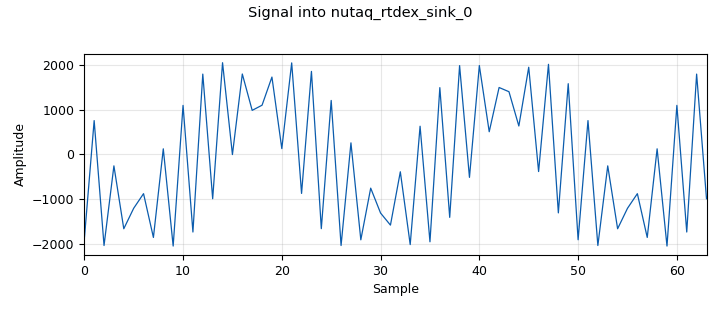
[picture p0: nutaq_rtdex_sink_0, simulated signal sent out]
<?xml version='1.0' encoding='utf-8'?>
<flow_graph>
<block>
<key>options</key>
<param><key>id</key><value>Test_channel_Number2</value></param>
<param><key>generate_options</key><value>wx_gui</value></param>
<param><key>category</key><value>Custom</value></param>
<param><key>realtime_scheduling</key><value>1</value></param>
</block>
<block>
<key>variable</key>
<param><key>id</key><value>packet_size</value></param>
<param><key>value</key><value>packet_size_gige</value></param>
</block>
<block>
<key>variable</key>
<param><key>id</key><value>RF_freq</value></param>
<param><key>value</key><value>3e9</value></param>
</block>
<block>
<key>variable</key>
<param><key>id</key><value>packet_size_gige</value></param>
<param><key>value</key><value>8192</value></param>
</block>
<block>
<key>variable</key>
<param><key>id</key><value>samp_rate</value></param>
<param><key>value</key><value>10e6</value></param>
</block>
<block>
<key>nutaq_custom_register</key>
<param><key>id</key><value>nutaq_custom_register_0_1_1</value></param>
<param><key>target_id</key><value>nutaq_carrier_perseus_TX</value></param>
<param><key>block_priority</key><value>9</value></param>
<param><key>index</key><value>6</value></param>
<param><key>value</key><value>820</value></param>
<param><key>update_rate</key><value>1</value></param>
</block>
<block>
<key>nutaq_radio420_rx</key>
<param><key>id</key><value>nutaq_radio420_rx_0_0</value></param>
<param><key>target_id</key><value>nutaq_carrier_perseus_TX</value></param>
<param><key>block_priority</key><value>3</value></param>
<param><key>selected_card</key><value>2</value></param>
<param><key>enable</key><value>1</value></param>
<param><key>reference</key><value>0</value></param>
<param><key>rx_freq</key><value>RF_freq</value></param>
<param><key>datarate</key><value>samp_rate*2</value></param>
<param><key>calibrate</key><value>0</value></param>
<param><key>band</key><value>1</value></param>
<param><key>update_rate</key><value>1</value></param>
<param><key>rx_lna_gain</key><value>2</value></param>
<param><key>rx_vga1_gain</key><value>2</value></param>
<param><key>rx_gain2</key><value>0</value></param>
<param><key>rx_gain3</key><value>-8</value></param>
<param><key>rx_lpf_bandwidth</key><value>1</value></param>
<param><key>rx_rf_filter</key><value>2</value></param>
<param><key>ref_clk_ctrl</key><value>0</value></param>
<param><key>rf_ctrl</key><value>0</value></param>
<param><key>rx_gain_ctrl</key><value>0</value></param>
<param><key>pll_cpld_ctrl</key><value>0</value></param>
</block>
<block>
<key>nutaq_custom_register</key>
<param><key>id</key><value>nutaq_custom_register_0_0_0</value></param>
<param><key>target_id</key><value>nutaq_carrier_perseus_TX</value></param>
<param><key>block_priority</key><value>8</value></param>
<param><key>index</key><value>3</value></param>
<param><key>value</key><value>7</value></param>
<param><key>update_rate</key><value>1</value></param>
</block>
<block>
<key>nutaq_custom_register</key>
<param><key>id</key><value>nutaq_custom_register_0_1_0</value></param>
<param><key>target_id</key><value>nutaq_carrier_perseus_TX</value></param>
<param><key>block_priority</key><value>7</value></param>
<param><key>index</key><value>2</value></param>
<param><key>value</key><value>00000</value></param>
<param><key>update_rate</key><value>1</value></param>
</block>
<block>
<key>nutaq_custom_register</key>
<param><key>id</key><value>nutaq_custom_register_0_1</value></param>
<param><key>target_id</key><value>nutaq_carrier_perseus_TX</value></param>
<param><key>block_priority</key><value>6</value></param>
<param><key>index</key><value>0</value></param>
<param><key>value</key><value>000000</value></param>
<param><key>update_rate</key><value>1</value></param>
</block>
<block>
<key>nutaq_radio420_tx</key>
<param><key>id</key><value>nutaq_radio420_tx_0_0</value></param>
<param><key>target_id</key><value>nutaq_carrier_perseus_TX</value></param>
<param><key>block_priority</key><value>1</value></param>
<param><key>selected_card</key><value>2</value></param>
<param><key>enable</key><value>1</value></param>
<param><key>reference</key><value>0</value></param>
<param><key>tx_freq</key><value>RF_freq</value></param>
<param><key>datarate</key><value>samp_rate*2</value></param>
<param><key>calibrate</key><value>0</value></param>
<param><key>band</key><value>1</value></param>
<param><key>update_rate</key><value>1</value></param>
<param><key>tx_vga1_gain</key><value>-10</value></param>
<param><key>tx_vga2_gain</key><value>15</value></param>
<param><key>tx_gain3</key><value>3</value></param>
<param><key>tx_lpf_bandwidth</key><value>1</value></param>
<param><key>ref_clk_ctrl</key><value>0</value></param>
<param><key>rf_ctrl</key><value>0</value></param>
<param><key>tx_gain_ctrl</key><value>0</value></param>
<param><key>pll_cpld_ctrl</key><value>0</value></param>
</block>
<block>
<key>nutaq_custom_register</key>
<param><key>id</key><value>nutaq_custom_register_0</value></param>
<param><key>target_id</key><value>nutaq_carrier_perseus_TX</value></param>
<param><key>block_priority</key><value>4</value></param>
<param><key>index</key><value>1</value></param>
<param><key>value</key><value>3</value></param>
<param><key>update_rate</key><value>1</value></param>
</block>
<block>
<key>nutaq_custom_register</key>
<param><key>id</key><value>nutaq_custom_register_0_0</value></param>
<param><key>target_id</key><value>nutaq_carrier_perseus_TX</value></param>
<param><key>block_priority</key><value>5</value></param>
<param><key>index</key><value>4</value></param>
<param><key>value</key><value>0</value></param>
<param><key>update_rate</key><value>1</value></param>
</block>
<block>
<key>nutaq_radio420_tx</key>
<param><key>id</key><value>nutaq_radio420_tx_0</value></param>
<param><key>target_id</key><value>nutaq_carrier_perseus_TX</value></param>
<param><key>block_priority</key><value>0</value></param>
<param><key>selected_card</key><value>1</value></param>
<param><key>enable</key><value>1</value></param>
<param><key>reference</key><value>0</value></param>
<param><key>tx_freq</key><value>RF_freq</value></param>
<param><key>datarate</key><value>samp_rate*2</value></param>
<param><key>calibrate</key><value>0</value></param>
<param><key>band</key><value>1</value></param>
<param><key>update_rate</key><value>1</value></param>
<param><key>tx_vga1_gain</key><value>-10</value></param>
<param><key>tx_vga2_gain</key><value>15</value></param>
<param><key>tx_gain3</key><value>3</value></param>
<param><key>tx_lpf_bandwidth</key><value>1</value></param>
<param><key>ref_clk_ctrl</key><value>0</value></param>
<param><key>rf_ctrl</key><value>0</value></param>
<param><key>tx_gain_ctrl</key><value>1</value></param>
<param><key>pll_cpld_ctrl</key><value>0</value></param>
</block>
<block>
<key>nutaq_rtdex_sink</key>
<param><key>id</key><value>nutaq_rtdex_sink_0</value></param>
<param><key>target_id</key><value>nutaq_carrier_perseus_TX</value></param>
<param><key>block_priority</key><value>7</value></param>
<param><key>type</key><value>short</value></param>
<param><key>media_type</key><value>0</value></param>
<param><key>packet_size</key><value>1024</value></param>
<param><key>num_chan</key><value>1</value></param>
<param><key>channels</key><value>1</value></param>
</block>
<block>
<key>blocks_interleave</key>
<param><key>id</key><value>blocks_interleave_0</value></param>
<param><key>type</key><value>short</value></param>
</block>
<block>
<key>blocks_float_to_short</key>
<param><key>id</key><value>blocks_float_to_short_0_0_0</value></param>
<param><key>scale</key><value>2**11-1</value></param>
</block>
<block>
<key>blocks_float_to_int</key>
<param><key>id</key><value>blocks_float_to_int_0</value></param>
<param><key>scale</key><value>1</value></param>
</block>
<block>
<key>blocks_short_to_float</key>
<param><key>id</key><value>blocks_short_to_float_0_0_0_0</value></param>
<param><key>scale</key><value>2**11</value></param>
</block>
<block>
<key>blocks_short_to_float</key>
<param><key>id</key><value>blocks_short_to_float_0_1_0</value></param>
<param><key>scale</key><value>2**11</value></param>
</block>
<block>
<key>blocks_deinterleave</key>
<param><key>id</key><value>blocks_deinterleave_0_0_0</value></param>
<param><key>type</key><value>short</value></param>
</block>
<block>
<key>nutaq_radio420_rx</key>
<param><key>id</key><value>nutaq_radio420_rx_0</value></param>
<param><key>target_id</key><value>nutaq_carrier_perseus_TX</value></param>
<param><key>block_priority</key><value>2</value></param>
<param><key>selected_card</key><value>1</value></param>
<param><key>enable</key><value>1</value></param>
<param><key>reference</key><value>0</value></param>
<param><key>rx_freq</key><value>RF_freq</value></param>
<param><key>datarate</key><value>samp_rate*2</value></param>
<param><key>calibrate</key><value>0</value></param>
<param><key>band</key><value>1</value></param>
<param><key>update_rate</key><value>1</value></param>
<param><key>rx_lna_gain</key><value>2</value></param>
<param><key>rx_vga1_gain</key><value>2</value></param>
<param><key>rx_gain2</key><value>0</value></param>
<param><key>rx_gain3</key><value>-8</value></param>
<param><key>rx_lpf_bandwidth</key><value>1</value></param>
<param><key>rx_rf_filter</key><value>2</value></param>
<param><key>ref_clk_ctrl</key><value>0</value></param>
<param><key>rf_ctrl</key><value>0</value></param>
<param><key>rx_gain_ctrl</key><value>0</value></param>
<param><key>pll_cpld_ctrl</key><value>0</value></param>
</block>
<block>
<key>digital_dxpsk_mod</key>
<param><key>id</key><value>digital_dxpsk_mod_0</value></param>
<param><key>_enabled</key><value>False</value></param>
<param><key>type</key><value>dbpsk</value></param>
<param><key>samples_per_symbol</key><value>20</value></param>
<param><key>excess_bw</key><value>0.55</value></param>
<param><key>mod_code</key><value>"none"</value></param>
<param><key>verbose</key><value>True</value></param>
<param><key>log</key><value>False</value></param>
</block>
<block>
<key>DataConversion_audio_fuentes</key>
<param><key>id</key><value>DataConversion_audio_fuentes_0</value></param>
<param><key>_enabled</key><value>False</value></param>
</block>
<block>
<key>analog_const_source_x</key>
<param><key>id</key><value>analog_const_source_x_1</value></param>
<param><key>_enabled</key><value>False</value></param>
<param><key>type</key><value>float</value></param>
<param><key>const</key><value>0</value></param>
</block>
<block>
<key>nutaq_rtdex_source</key>
<param><key>id</key><value>nutaq_rtdex_source_0_0</value></param>
<param><key>_enabled</key><value>False</value></param>
<param><key>target_id</key><value>nutaq_carrier_perseus_TX</value></param>
<param><key>block_priority</key><value>32</value></param>
<param><key>type</key><value>short</value></param>
<param><key>media_type</key><value>0</value></param>
<param><key>packet_size</key><value>packet_size</value></param>
<param><key>num_chan</key><value>1</value></param>
<param><key>channels</key><value>1</value></param>
<param><key>minoutbuf</key><value>packet_size*2</value></param>
</block>
<block>
<key>blocks_float_to_complex</key>
<param><key>id</key><value>blocks_float_to_complex_0_0</value></param>
<param><key>_enabled</key><value>False</value></param>
</block>
<block>
<key>blocks_deinterleave</key>
<param><key>id</key><value>blocks_deinterleave_0_0</value></param>
<param><key>_enabled</key><value>False</value></param>
<param><key>type</key><value>short</value></param>
</block>
<block>
<key>blocks_short_to_float</key>
<param><key>id</key><value>blocks_short_to_float_0_0_0</value></param>
<param><key>_enabled</key><value>False</value></param>
<param><key>scale</key><value>2**11</value></param>
</block>
<block>
<key>blocks_short_to_float</key>
<param><key>id</key><value>blocks_short_to_float_0_1</value></param>
<param><key>_enabled</key><value>False</value></param>
<param><key>scale</key><value>2**11</value></param>
</block>
<block>
<key>qtgui_time_sink_x</key>
<param><key>id</key><value>qtgui_time_sink_x_0_0</value></param>
<param><key>_enabled</key><value>False</value></param>
<param><key>type</key><value>complex</value></param>
<param><key>name</key><value>QT GUI Plot</value></param>
<param><key>size</key><value>1024</value></param>
<param><key>srate</key><value>samp_rate</value></param>
<param><key>tr_mode</key><value>qtgui.TRIG_MODE_NORM</value></param>
<param><key>gui_hint</key><value> </value></param>
</block>
<block>
<key>blocks_float_to_complex</key>
<param><key>id</key><value>blocks_float_to_complex_0_0_0</value></param>
</block>
<block>
<key>nutaq_carrier_perseus</key>
<param><key>id</key><value>nutaq_carrier_perseus_TX</value></param>
<param><key>ip_addr</key><value>192.168.0.101</value></param>
</block>
<block>
<key>blocks_float_to_int</key>
<param><key>id</key><value>blocks_float_to_int_0_0</value></param>
<param><key>scale</key><value>1</value></param>
</block>
<block>
<key>analog_const_source_x</key>
<param><key>id</key><value>analog_const_source_x_0_0</value></param>
<param><key>type</key><value>float</value></param>
<param><key>const</key><value>0*1e5*(2**32)/samp_rate</value></param>
</block>
<block>
<key>wxgui_scopesink2</key>
<param><key>id</key><value>wxgui_scopesink2_0_0</value></param>
<param><key>type</key><value>complex</value></param>
<param><key>title</key><value>Scope Plot</value></param>
<param><key>samp_rate</key><value>samp_rate/40</value></param>
<param><key>v_scale</key><value>0</value></param>
<param><key>v_offset</key><value>0</value></param>
<param><key>t_scale</key><value>0</value></param>
<param><key>ac_couple</key><value>True</value></param>
<param><key>xy_mode</key><value>False</value></param>
<param><key>num_inputs</key><value>2</value></param>
<param><key>trig_mode</key><value>wxgui.TRIG_MODE_STRIPCHART</value></param>
<param><key>y_axis_label</key><value>Counts</value></param>
</block>
<block>
<key>blocks_complex_to_float</key>
<param><key>id</key><value>blocks_complex_to_float_0</value></param>
</block>
<block>
<key>blocks_float_to_short</key>
<param><key>id</key><value>blocks_float_to_short_0_0</value></param>
<param><key>scale</key><value>2**11-1</value></param>
</block>
<block>
<key>variable_slider</key>
<param><key>id</key><value>fm</value></param>
<param><key>label</key><value>Modulation Frequency</value></param>
<param><key>value</key><value>0</value></param>
<param><key>min</key><value>-15e3</value></param>
<param><key>max</key><value>15e3</value></param>
<param><key>num_steps</key><value>100</value></param>
<param><key>style</key><value>wx.SL_HORIZONTAL</value></param>
<param><key>converver</key><value>float_converter</value></param>
</block>
<block>
<key>analog_const_source_x</key>
<param><key>id</key><value>analog_const_source_x_0</value></param>
<param><key>type</key><value>float</value></param>
<param><key>const</key><value>0*1e5*(2**32)/samp_rate</value></param>
</block>
<block>
<key>nutaq_rtdex_source</key>
<param><key>id</key><value>nutaq_rtdex_source_0_0_0</value></param>
<param><key>target_id</key><value>nutaq_carrier_perseus_TX</value></param>
<param><key>block_priority</key><value>7</value></param>
<param><key>type</key><value>short</value></param>
<param><key>media_type</key><value>0</value></param>
<param><key>packet_size</key><value>packet_size</value></param>
<param><key>num_chan</key><value>1</value></param>
<param><key>channels</key><value>2</value></param>
<param><key>minoutbuf</key><value>packet_size*2</value></param>
</block>
<block>
<key>analog_sig_source_x</key>
<param><key>id</key><value>analog_sig_source_x_0</value></param>
<param><key>type</key><value>complex</value></param>
<param><key>samp_rate</key><value>samp_rate/40</value></param>
<param><key>waveform</key><value>analog.GR_SIN_WAVE</value></param>
<param><key>freq</key><value>fm + 20e3</value></param>
<param><key>amp</key><value>1</value></param>
<param><key>offset</key><value>0</value></param>
</block>
<connection><source_block_id>analog_const_source_x_0</source_block_id><sink_block_id>blocks_float_to_int_0</sink_block_id><source_key>0</source_key><sink_key>0</sink_key></connection>
<connection><source_block_id>blocks_float_to_int_0</source_block_id><sink_block_id>nutaq_custom_register_0_1</sink_block_id><source_key>0</source_key><sink_key>0</sink_key></connection>
<connection><source_block_id>blocks_float_to_int_0_0</source_block_id><sink_block_id>nutaq_custom_register_0_1_0</sink_block_id><source_key>0</source_key><sink_key>0</sink_key></connection>
<connection><source_block_id>analog_const_source_x_1</source_block_id><sink_block_id>DataConversion_audio_fuentes_0</sink_block_id><source_key>0</source_key><sink_key>0</sink_key></connection>
<connection><source_block_id>blocks_interleave_0</source_block_id><sink_block_id>nutaq_rtdex_sink_0</sink_block_id><source_key>0</source_key><sink_key>0</sink_key></connection>
<connection><source_block_id>blocks_float_to_short_0_0</source_block_id><sink_block_id>blocks_interleave_0</sink_block_id><source_key>0</source_key><sink_key>0</sink_key></connection>
<connection><source_block_id>blocks_complex_to_float_0</source_block_id><sink_block_id>blocks_float_to_short_0_0</sink_block_id><source_key>0</source_key><sink_key>0</sink_key></connection>
<connection><source_block_id>digital_dxpsk_mod_0</source_block_id><sink_block_id>blocks_complex_to_float_0</sink_block_id><source_key>0</source_key><sink_key>0</sink_key></connection>
<connection><source_block_id>DataConversion_audio_fuentes_0</source_block_id><sink_block_id>digital_dxpsk_mod_0</sink_block_id><source_key>0</source_key><sink_key>0</sink_key></connection>
<connection><source_block_id>blocks_complex_to_float_0</source_block_id><sink_block_id>blocks_float_to_short_0_0_0</sink_block_id><source_key>1</source_key><sink_key>0</sink_key></connection>
<connection><source_block_id>blocks_float_to_short_0_0_0</source_block_id><sink_block_id>blocks_interleave_0</sink_block_id><source_key>0</source_key><sink_key>1</sink_key></connection>
<connection><source_block_id>nutaq_rtdex_source_0_0_0</source_block_id><sink_block_id>blocks_deinterleave_0_0_0</sink_block_id><source_key>0</source_key><sink_key>0</sink_key></connection>
<connection><source_block_id>blocks_deinterleave_0_0_0</source_block_id><sink_block_id>blocks_short_to_float_0_0_0_0</sink_block_id><source_key>1</source_key><sink_key>0</sink_key></connection>
<connection><source_block_id>blocks_short_to_float_0_0_0_0</source_block_id><sink_block_id>blocks_float_to_complex_0_0_0</sink_block_id><source_key>0</source_key><sink_key>1</sink_key></connection>
<connection><source_block_id>blocks_deinterleave_0_0_0</source_block_id><sink_block_id>blocks_short_to_float_0_1_0</sink_block_id><source_key>0</source_key><sink_key>0</sink_key></connection>
<connection><source_block_id>blocks_short_to_float_0_1_0</source_block_id><sink_block_id>blocks_float_to_complex_0_0_0</sink_block_id><source_key>0</source_key><sink_key>0</sink_key></connection>
<connection><source_block_id>analog_sig_source_x_0</source_block_id><sink_block_id>blocks_complex_to_float_0</sink_block_id><source_key>0</source_key><sink_key>0</sink_key></connection>
<connection><source_block_id>blocks_short_to_float_0_0_0</source_block_id><sink_block_id>blocks_float_to_complex_0_0</sink_block_id><source_key>0</source_key><sink_key>1</sink_key></connection>
<connection><source_block_id>blocks_deinterleave_0_0</source_block_id><sink_block_id>blocks_short_to_float_0_0_0</sink_block_id><source_key>1</source_key><sink_key>0</sink_key></connection>
<connection><source_block_id>blocks_float_to_complex_0_0</source_block_id><sink_block_id>qtgui_time_sink_x_0_0</sink_block_id><source_key>0</source_key><sink_key>0</sink_key></connection>
<connection><source_block_id>blocks_deinterleave_0_0</source_block_id><sink_block_id>blocks_short_to_float_0_1</sink_block_id><source_key>0</source_key><sink_key>0</sink_key></connection>
<connection><source_block_id>blocks_short_to_float_0_1</source_block_id><sink_block_id>blocks_float_to_complex_0_0</sink_block_id><source_key>0</source_key><sink_key>0</sink_key></connection>
<connection><source_block_id>nutaq_rtdex_source_0_0</source_block_id><sink_block_id>blocks_deinterleave_0_0</sink_block_id><source_key>0</source_key><sink_key>0</sink_key></connection>
<connection><source_block_id>analog_sig_source_x_0</source_block_id><sink_block_id>wxgui_scopesink2_0_0</sink_block_id><source_key>0</source_key><sink_key>0</sink_key></connection>
<connection><source_block_id>blocks_float_to_complex_0_0_0</source_block_id><sink_block_id>wxgui_scopesink2_0_0</sink_block_id><source_key>0</source_key><sink_key>1</sink_key></connection>
<connection><source_block_id>analog_const_source_x_0_0</source_block_id><sink_block_id>blocks_float_to_int_0_0</sink_block_id><source_key>0</source_key><sink_key>0</sink_key></connection>
</flow_graph>
